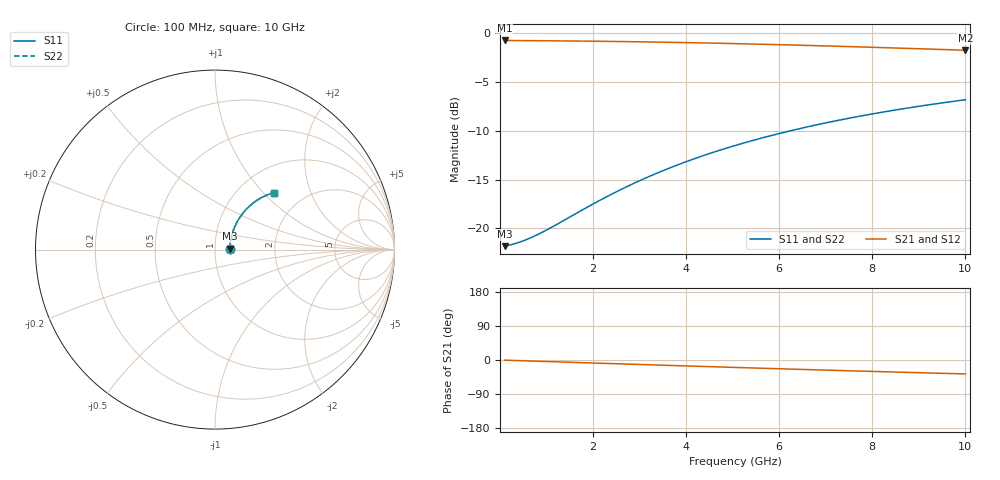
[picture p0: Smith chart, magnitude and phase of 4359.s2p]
# Hz S RI R 50.00
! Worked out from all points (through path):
!   100 points, 100 MHz to 10 GHz, reference 50 ohm
!   highest |S21| = -0.73 dB at 100 MHz (marker M1); lowest = -1.7 dB at 10 GHz (marker M2)
!   group delay of S21, straight-line fit = 10.2 ps
!   lowest |S11| = -21.8 dB at 100 MHz (marker M3), VSWR 1.18, Z = 58.8 + j0.555 ohm
!   |S11| at or under -10 dB: start of sweep to 6.236 GHz
!   |S22| runs from -21.8 to -6.8 dB; largest |S21 - S12| = 0
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1e8  0.0809 0.00468  0.9191 -0.00639  0.9191 -0.00639  0.0809 0.00468
3e8  0.082 0.014  0.918 -0.0191  0.918 -0.0191  0.082 0.014
4e8  0.0825 0.0187  0.9174 -0.0255  0.9174 -0.0255  0.0825 0.0187
5e8  0.0831 0.0233  0.9169 -0.0318  0.9169 -0.0318  0.0831 0.0233
7e8  0.0843 0.0326  0.9157 -0.0445  0.9157 -0.0445  0.0843 0.0326
9e8  0.0856 0.0418  0.9142 -0.0571  0.9142 -0.0571  0.0856 0.0418
1.1e9  0.0872 0.051  0.9126 -0.0697  0.9126 -0.0697  0.0872 0.051
1.8e9  0.0945 0.0825  0.905 -0.1132  0.905 -0.1132  0.0945 0.0825
2.2e9  0.0999 0.1001  0.8994 -0.1376  0.8994 -0.1376  0.0999 0.1001
2.6e9  0.1061 0.1173  0.8928 -0.1616  0.8928 -0.1616  0.1061 0.1173
3e9  0.1133 0.134  0.8853 -0.1852  0.8853 -0.1852  0.1133 0.134
3.4e9  0.1213 0.1503  0.8769 -0.2083  0.8769 -0.2083  0.1213 0.1503
3.8e9  0.13 0.1659  0.8677 -0.2308  0.8677 -0.2308  0.13 0.1659
4.2e9  0.1395 0.181  0.8577 -0.2527  0.8577 -0.2527  0.1395 0.181
4.6e9  0.1497 0.1954  0.847 -0.274  0.847 -0.274  0.1497 0.1954
5.1e9  0.1634 0.2124  0.8326 -0.2996  0.8326 -0.2996  0.1634 0.2124
5.9e9  0.187 0.2374  0.8076 -0.3383  0.8076 -0.3383  0.187 0.2374
6.7e9  0.2126 0.2593  0.7805 -0.3741  0.7805 -0.3741  0.2126 0.2593
7.5e9  0.2395 0.2781  0.7518 -0.4067  0.7518 -0.4067  0.2395 0.2781
8.4e9  0.271 0.2955  0.7181 -0.4399  0.7181 -0.4399  0.271 0.2955
9.2e9  0.2995 0.3078  0.6873 -0.4661  0.6873 -0.4661  0.2995 0.3078
1e10  0.3283 0.3171  0.6561 -0.4895  0.6561 -0.4895  0.3283 0.3171
